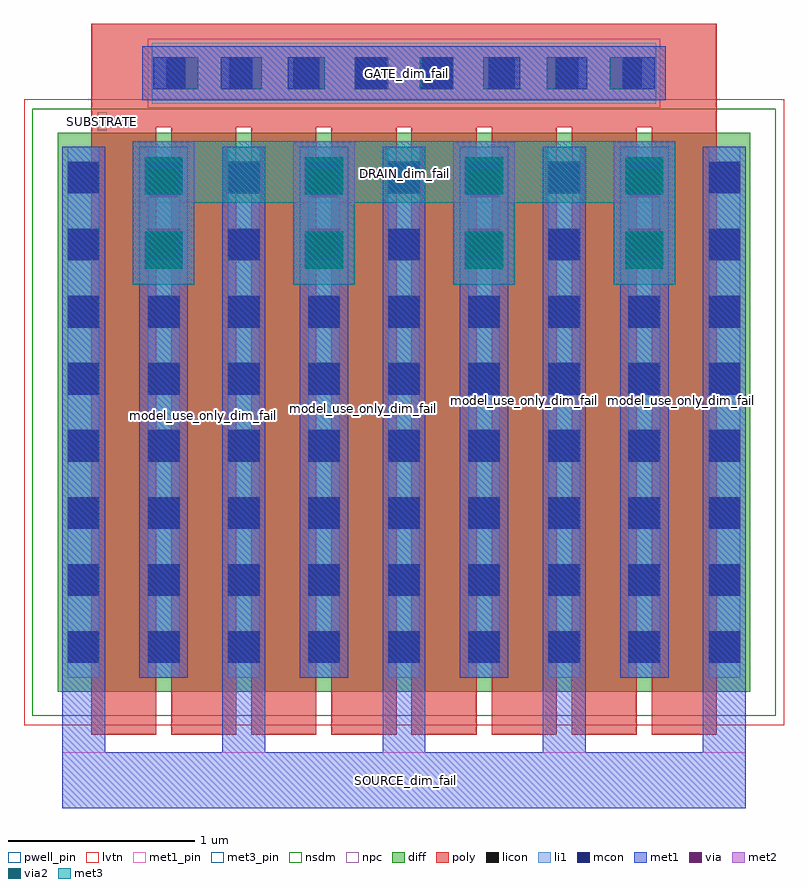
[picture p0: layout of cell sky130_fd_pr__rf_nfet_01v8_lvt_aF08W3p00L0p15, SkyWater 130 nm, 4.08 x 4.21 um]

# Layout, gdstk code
import gdstk
lib = gdstk.Library(unit=1e-6, precision=1e-09)
def R(c, l, rs):  # rectangles x0, y0, x1, y1
    for r in rs: c.add(gdstk.rectangle(r[:2], r[2:], *l))
def A(c, l, x, y, w, h, nx, ny, dx, dy):  # array of equal rectangles
    R(c, l, [(x+i*dx, y+j*dy, x+i*dx+w, y+j*dy+h) for i in range(nx) for j in range(ny)])
def P(c, l, *ps):  # polygons
    for p in ps: c.add(gdstk.Polygon(p, *l))
diff = (65, 20)
poly = (66, 20)
licon = (66, 44)
li1 = (67, 20)
mcon = (67, 44)
met1_pin = (68, 16)
met1 = (68, 20)
via = (68, 44)
met2 = (69, 20)
via2 = (69, 44)
met3_pin = (70, 16)
met3 = (70, 20)
nsdm = (93, 44)
npc = (95, 20)
pwell_pin = (122, 16)
lvtn = (125, 44)

sky130_fd_pr__rf_nfet_01 = lib.new_cell('sky130_fd_pr__rf_nfet_01v8_lvt_aF08W3p00L0p15')
A(sky130_fd_pr__rf_nfet_01, diff, 0.18, 0.18, 0.28, 3, 3, 1, 0.43, 0)
A(sky130_fd_pr__rf_nfet_01, diff, 0.21, 0.18, 0.25, 3, 4, 1, 0.86, 0)
A(sky130_fd_pr__rf_nfet_01, diff, 0.46, 0.18, 0.15, 3, 8, 1, 0.43, 0)
A(sky130_fd_pr__rf_nfet_01, diff, 1.04, 0.18, 0.28, 3, 3, 1, 0.43, 0)
A(sky130_fd_pr__rf_nfet_01, diff, 1.9, 0.18, 0.28, 3, 3, 1, 0.43, 0)
A(sky130_fd_pr__rf_nfet_01, diff, 2.76, 0.18, 0.28, 3, 3, 1, 0.43, 0)
R(sky130_fd_pr__rf_nfet_01, diff, [(3.62,0.18,3.9,3.18), (3.62,0.18,3.87,3.18), (3.65,0.18,3.9,3.18)])
P(sky130_fd_pr__rf_nfet_01, poly, [(0.36,-0.05),(0.36,3.765),(3.72,3.765),(3.72,-0.05),(3.37,-0.05),(3.37,3.21),(3.29,3.21),(3.29,-0.05),(2.94,-0.05),(2.94,3.21),(2.86,3.21),(2.86,-0.05),(2.51,-0.05),(2.51,3.21),(2.43,3.21),(2.43,-0.05),(2.08,-0.05),(2.08,3.21),(2,3.21),(2,-0.05),(1.65,-0.05),(1.65,3.21),(1.57,3.21),(1.57,-0.05),(1.22,-0.05),(1.22,3.21),(1.14,3.21),(1.14,-0.05),(0.79,-0.05),(0.79,3.21),(0.71,3.21),(0.71,-0.05)])
A(sky130_fd_pr__rf_nfet_01, licon, 0.235, 0.335, 0.17, 0.17, 9, 8, 0.43, 0.36)
A(sky130_fd_pr__rf_nfet_01, licon, 0.765, 3.415, 0.17, 0.17, 8, 1, 0.34, 0)
A(sky130_fd_pr__rf_nfet_01, li1, 0.235, 0.255, 0.17, 2.85, 9, 1, 0.43, 0)
R(sky130_fd_pr__rf_nfet_01, li1, [(0.685,3.335,3.395,3.665), (0.695,3.415,3.385,3.585)])
A(sky130_fd_pr__rf_nfet_01, mcon, 0.235, 0.335, 0.17, 0.17, 9, 8, 0.43, 0.36)
A(sky130_fd_pr__rf_nfet_01, mcon, 0.695, 3.415, 0.17, 0.17, 8, 1, 0.36, 0)
R(sky130_fd_pr__rf_nfet_01, met1_pin, [(0.205,-0.445,3.875,-0.145), (0.635,3.355,3.445,3.645)])
R(sky130_fd_pr__rf_nfet_01, met1, [(0.635,3.355,3.445,3.645)])
A(sky130_fd_pr__rf_nfet_01, via, 0.675, 2.515, 0.15, 0.15, 4, 2, 0.86, 0.32)
A(sky130_fd_pr__rf_nfet_01, met2, 0.585, 2.365, 0.33, 0.77, 4, 1, 0.86, 0)
A(sky130_fd_pr__rf_nfet_01, met2, 0.62, 2.43, 0.26, 0.64, 4, 1, 0.86, 0)
A(sky130_fd_pr__rf_nfet_01, via2, 0.65, 2.45, 0.2, 0.2, 4, 2, 0.86, 0.4)
R(sky130_fd_pr__rf_nfet_01, met3_pin, [(0.585,2.805,3.495,3.135)])
A(sky130_fd_pr__rf_nfet_01, met3, 0.585, 2.365, 0.33, 0.77, 4, 1, 0.86, 0)
A(sky130_fd_pr__rf_nfet_01, nsdm, 0.21, 0.05, 0.4, 3.26, 7, 1, 0.43, 0)
A(sky130_fd_pr__rf_nfet_01, nsdm, 0.48, 0.05, 0.54, 3.26, 7, 1, 0.43, 0)
R(sky130_fd_pr__rf_nfet_01, nsdm, [(0.045,0.05,0.59,3.31), (3.22,0.05,3.87,3.31), (3.49,0.05,4.035,3.31)])
R(sky130_fd_pr__rf_nfet_01, npc, [(0.665,3.315,3.415,3.685)])
R(sky130_fd_pr__rf_nfet_01, pwell_pin, [(0.395,3.195,0.445,3.29)])
R(sky130_fd_pr__rf_nfet_01, lvtn, [(0,0,4.08,3.36)])
sky130_fd_pr__rf_nfet_01.add(gdstk.FlexPath([(0.585,2.97),(3.495,2.97)], 0.33, ends="flush", simple_path=True, layer=70, datatype=20))  # met3
sky130_fd_pr__rf_nfet_01.add(gdstk.FlexPath([(2.9,3.105),(2.9,-0.445)], 0.23, ends="flush", simple_path=True, layer=68, datatype=20))  # met1
sky130_fd_pr__rf_nfet_01.add(gdstk.FlexPath([(3.76,3.105),(3.76,-0.445)], 0.23, ends="flush", simple_path=True, layer=68, datatype=20))  # met1
sky130_fd_pr__rf_nfet_01.add(gdstk.FlexPath([(2.04,3.105),(2.04,-0.445)], 0.23, ends="flush", simple_path=True, layer=68, datatype=20))  # met1
sky130_fd_pr__rf_nfet_01.add(gdstk.FlexPath([(0.205,-0.295),(3.875,-0.295)], 0.3, ends="flush", simple_path=True, layer=68, datatype=20))  # met1
sky130_fd_pr__rf_nfet_01.add(gdstk.FlexPath([(1.18,3.105),(1.18,-0.445)], 0.23, ends="flush", simple_path=True, layer=68, datatype=20))  # met1
sky130_fd_pr__rf_nfet_01.add(gdstk.FlexPath([(3.33,3.105),(3.33,0.255)], 0.26, ends="flush", simple_path=True, layer=68, datatype=20))  # met1
sky130_fd_pr__rf_nfet_01.add(gdstk.FlexPath([(2.47,3.105),(2.47,0.255)], 0.26, ends="flush", simple_path=True, layer=68, datatype=20))  # met1
sky130_fd_pr__rf_nfet_01.add(gdstk.FlexPath([(1.61,3.105),(1.61,0.255)], 0.26, ends="flush", simple_path=True, layer=68, datatype=20))  # met1
sky130_fd_pr__rf_nfet_01.add(gdstk.FlexPath([(0.75,3.105),(0.75,0.255)], 0.26, ends="flush", simple_path=True, layer=68, datatype=20))  # met1
sky130_fd_pr__rf_nfet_01.add(gdstk.FlexPath([(0.32,3.105),(0.32,-0.445)], 0.23, ends="flush", simple_path=True, layer=68, datatype=20))  # met1
sky130_fd_pr__rf_nfet_01.add(gdstk.Label('model_use_only_dim_fail', (0.965,1.665), layer=66, texttype=83))
sky130_fd_pr__rf_nfet_01.add(gdstk.Label('model_use_only_dim_fail', (0.525,1.635), layer=66, texttype=83))
sky130_fd_pr__rf_nfet_01.add(gdstk.Label('model_use_only_dim_fail', (1.4,1.67), layer=66, texttype=83))
sky130_fd_pr__rf_nfet_01.add(gdstk.Label('model_use_only_dim_fail', (1.825,1.7), layer=66, texttype=83))
sky130_fd_pr__rf_nfet_01.add(gdstk.Label('model_use_only_dim_fail', (2.25,1.71), layer=66, texttype=83))
sky130_fd_pr__rf_nfet_01.add(gdstk.Label('model_use_only_dim_fail', (2.685,1.745), layer=66, texttype=83))
sky130_fd_pr__rf_nfet_01.add(gdstk.Label('model_use_only_dim_fail', (3.115,1.765), layer=66, texttype=83))
sky130_fd_pr__rf_nfet_01.add(gdstk.Label('model_use_only_dim_fail', (3.53,1.745), layer=66, texttype=83))
sky130_fd_pr__rf_nfet_01.add(gdstk.Label('DRAIN_dim_fail', (2.04,2.96), layer=70, texttype=16))
sky130_fd_pr__rf_nfet_01.add(gdstk.Label('GATE_dim_fail', (2.055,3.5), layer=68, texttype=16))
sky130_fd_pr__rf_nfet_01.add(gdstk.Label('SOURCE_dim_fail', (2.05,-0.295), layer=68, texttype=16))
sky130_fd_pr__rf_nfet_01.add(gdstk.Label('SUBSTRATE', (0.42,3.24), layer=64, texttype=59))

lib.write_gds('sky130_fd_pr__rf_nfet_01v8_lvt_aF08W3p00L0p15.gds')
